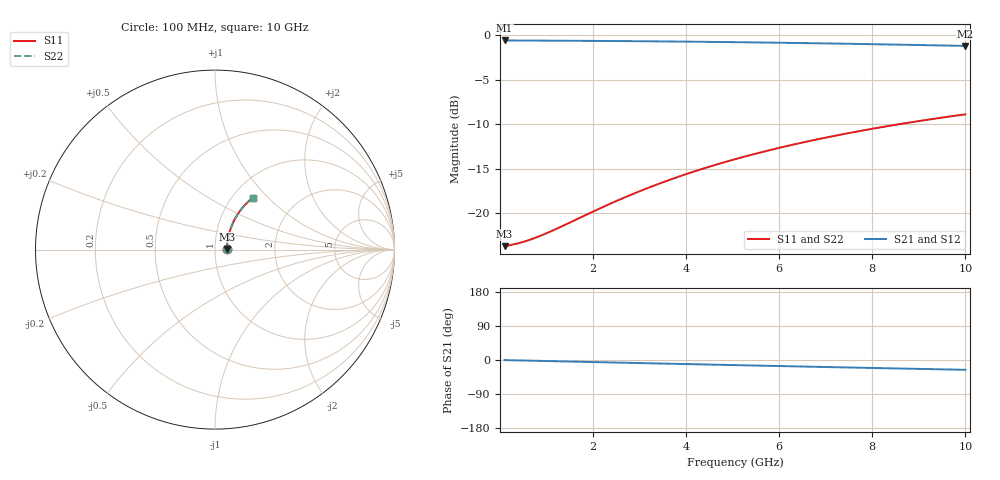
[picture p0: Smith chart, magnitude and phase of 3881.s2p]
# Hz S RI R 50.00
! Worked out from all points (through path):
!   100 points, 100 MHz to 10 GHz, reference 50 ohm
!   highest |S21| = -0.58 dB at 100 MHz (marker M1); lowest = -1.2 dB at 10 GHz (marker M2)
!   group delay of S21, straight-line fit = 7.21 ps
!   lowest |S11| = -23.7 dB at 100 MHz (marker M3), VSWR 1.14, Z = 56.9 + j0.404 ohm
!   |S11| at or under -10 dB: start of sweep to 8.59 GHz
!   |S22| runs from -23.7 to -8.9 dB; largest |S21 - S12| = 0
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1e8  0.0649 0.00353  0.9351 -0.00443  0.9351 -0.00443  0.0649 0.00353
4e8  0.0661 0.0141  0.9339 -0.0177  0.9339 -0.0177  0.0661 0.0141
6e8  0.0668 0.0211  0.9332 -0.0265  0.9332 -0.0265  0.0668 0.0211
8e8  0.0676 0.0281  0.9324 -0.0353  0.9324 -0.0353  0.0676 0.0281
1e9  0.0684 0.0351  0.9316 -0.044  0.9316 -0.044  0.0684 0.0351
1.2e9  0.0693 0.042  0.9306 -0.0528  0.9306 -0.0528  0.0693 0.042
1.8e9  0.0728 0.0628  0.927 -0.0789  0.927 -0.0789  0.0728 0.0628
2.2e9  0.0757 0.0764  0.9241 -0.0961  0.9241 -0.0961  0.0757 0.0764
2.6e9  0.0791 0.0899  0.9206 -0.1132  0.9206 -0.1132  0.0791 0.0899
3e9  0.0829 0.1032  0.9167 -0.1302  0.9167 -0.1302  0.0829 0.1032
3.4e9  0.0872 0.1164  0.9123 -0.1469  0.9123 -0.1469  0.0872 0.1164
3.8e9  0.092 0.1293  0.9074 -0.1634  0.9074 -0.1634  0.092 0.1293
4.2e9  0.0971 0.142  0.9021 -0.1797  0.9021 -0.1797  0.0971 0.142
4.6e9  0.1028 0.1544  0.8963 -0.1957  0.8963 -0.1957  0.1028 0.1544
5.1e9  0.1104 0.1695  0.8885 -0.2154  0.8885 -0.2154  0.1104 0.1695
5.5e9  0.1169 0.1813  0.8818 -0.2308  0.8818 -0.2308  0.1169 0.1813
5.9e9  0.1238 0.1928  0.8747 -0.2458  0.8747 -0.2458  0.1238 0.1928
6.7e9  0.1387 0.2147  0.8594 -0.275  0.8594 -0.275  0.1387 0.2147
7.5e9  0.1549 0.2353  0.8427 -0.3028  0.8427 -0.3028  0.1549 0.2353
8.4e9  0.1744 0.2566  0.8226 -0.3323  0.8226 -0.3323  0.1744 0.2566
9.2e9  0.1928 0.274  0.8036 -0.357  0.8036 -0.357  0.1928 0.274
1e10  0.212 0.2898  0.7837 -0.3801  0.7837 -0.3801  0.212 0.2898
